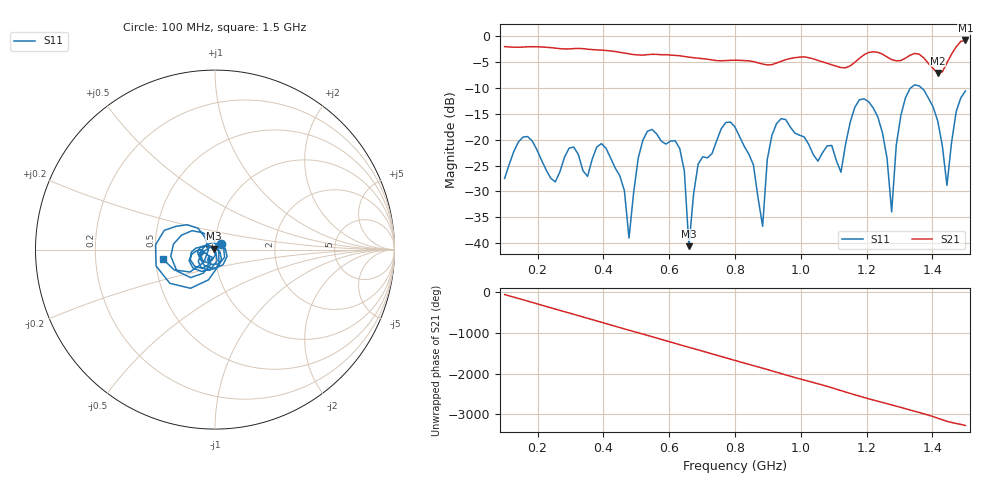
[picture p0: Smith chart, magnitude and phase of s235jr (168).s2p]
! NanoVNA-App
! Date: 2025-09-25 15:05:28
! Start: 100MHz Stop: 1,5GHz Points: 101
! S-Parameter data: F S11 S21 S12 S22
# Hz S RI R 50
!  Frequency  S11_Real  S11_Imag  S21_Real  S21_Imag  S12_Real  S12_Imag  S22_Real  S22_Imag
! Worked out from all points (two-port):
!   101 points, 100 MHz to 1.5 GHz, reference 50 ohm
!   highest |S21| = -0.77 dB at 1.5 GHz (marker M1); lowest = -7.1 dB at 1.416 GHz (marker M2)
!   |S21| within 3 dB of the highest: start of sweep to 636.2 MHz; 1.187 GHz to 1.257 GHz (69.58 MHz wide, 5.69 % of centre) (the widest 2 of 4)
!   lowest |S11| = -40.6 dB at 660 MHz (marker M3), VSWR 1.02, Z = 49.3 + j0.55 ohm
!   |S11| at or under -10 dB: start of sweep to 1.333 GHz; 1.367 GHz to end of sweep
!   S12 and S22 are empty: the file has one direction only
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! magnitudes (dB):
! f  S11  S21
! 100 MHz  -27.5  -2.0
! 170 MHz  -19.4  -2.0
! 338 MHz  -26.0  -2.4
! 408 MHz  -21.6  -2.7
! 478 MHz  -39.0  -3.4
! 520 MHz  -20.1  -3.6
! 576 MHz  -20.3  -3.5
! 632 MHz  -21.7  -3.7
! 660 MHz  -40.6  -4.0
! 688 MHz  -24.7  -4.2
! 800 MHz  -17.5  -4.6
! 884 MHz  -36.8  -5.3
! 926 MHz  -16.9  -5.1
! 1.038 GHz  -22.9  -4.3
! 1.122 GHz  -26.3  -6.0
! 1.206 GHz  -12.6  -3.1
! 1.276 GHz  -34.0  -4.5
! 1.29 GHz  -21.0  -4.7
! 1.332 GHz  -10.1  -3.6
! 1.416 GHz  -16.4  -7.1
! 1.444 GHz  -28.8  -5.1
! 1.5 GHz  -10.6  -0.8
